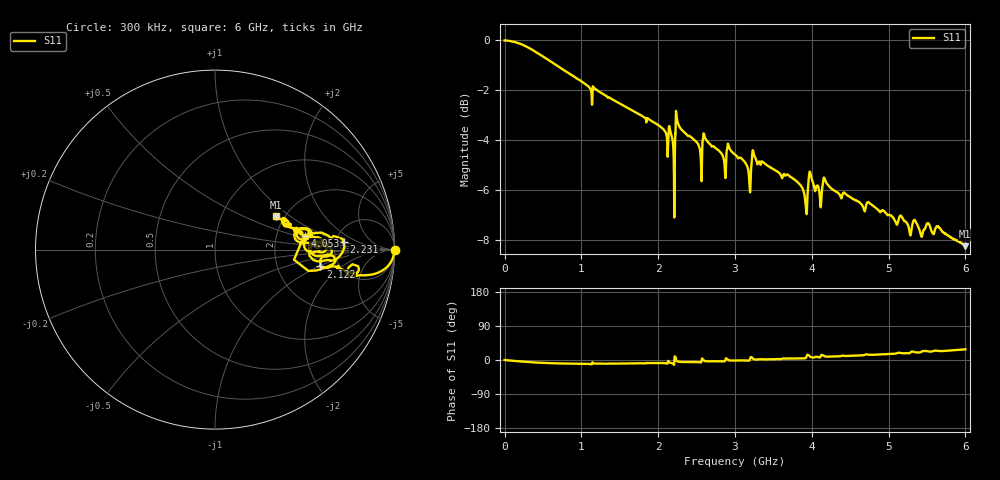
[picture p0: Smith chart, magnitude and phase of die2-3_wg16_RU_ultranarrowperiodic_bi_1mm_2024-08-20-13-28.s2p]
!Keysight Technologies,P9374A,MY57304198,A.17.20.09
!Date: Tuesday, August 20, 2024 13:28:35
!Correction: S11(C  1-Port  )
!S21(C  1-Port  )
!S12(Off)
!S22(Off)
!S2P File: Measurements: S11, S21, S12, S22:
# Hz S  dB  R 50
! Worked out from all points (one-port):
!   6000 points, 300 kHz to 6 GHz, reference 50 ohm
!   lowest |S11| = -8.3 dB at 5.99 GHz (marker M1), VSWR 2.26, Z = 91.2 + j38.9 ohm
!   |S11| at or under -10 dB: nowhere
!   S11 on the Smith chart (normalised r, x): 300 kHz: open; 2.122 GHz: 3.61, -1.05; 2.231 GHz: 5.96, +1.07; 4.053 GHz: 2.90, +0.60; 6 GHz: 1.82, +0.79
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300000  0.00 -0.0  -200.00 45.0  -200.00 45.0  -200.00 45.0
4.353508e8  -0.52 -7.0  -200.00 45.0  -200.00 45.0  -200.00 45.0
1.000417e9  -1.64 -10.0  -200.00 45.0  -200.00 45.0  -200.00 45.0
2.000533e9  -3.39 -8.0  -200.00 45.0  -200.00 45.0  -200.00 45.0
2.121547e9  -4.51 -9.1  -200.00 45.0  -200.00 45.0  -200.00 45.0
2.178554e9  -3.86 -8.2  -200.00 45.0  -200.00 45.0  -200.00 45.0
2.23056e9  -2.85 3.4  -200.00 45.0  -200.00 45.0  -200.00 45.0
2.256563e9  -3.31 -4.1  -200.00 45.0  -200.00 45.0  -200.00 45.0
2.346574e9  -3.70 -5.4  -200.00 45.0  -200.00 45.0  -200.00 45.0
2.544597e9  -4.40 -6.0  -200.00 45.0  -200.00 45.0  -200.00 45.0
2.608604e9  -3.89 -2.9  -200.00 45.0  -200.00 45.0  -200.00 45.0
2.856633e9  -4.80 -3.5  -200.00 45.0  -200.00 45.0  -200.00 45.0
3.00065e9  -4.58 -1.4  -200.00 45.0  -200.00 45.0  -200.00 45.0
3.161669e9  -5.07 -1.3  -200.00 45.0  -200.00 45.0  -200.00 45.0
3.223676e9  -4.60 6.3  -200.00 45.0  -200.00 45.0  -200.00 45.0
3.415698e9  -5.00 1.7  -200.00 45.0  -200.00 45.0  -200.00 45.0
3.920757e9  -6.61 5.4  -200.00 45.0  -200.00 45.0  -200.00 45.0
4.000767e9  -5.56 6.9  -200.00 45.0  -200.00 45.0  -200.00 45.0
4.052773e9  -5.94 8.7  -200.00 45.0  -200.00 45.0  -200.00 45.0
5.000883e9  -7.00 15.9  -200.00 45.0  -200.00 45.0  -200.00 45.0
5.989999e9  -8.25 27.9  -200.00 45.0  -200.00 45.0  -200.00 45.0
6e9  -8.22 28.4  -200.00 45.0  -200.00 45.0  -200.00 45.0
